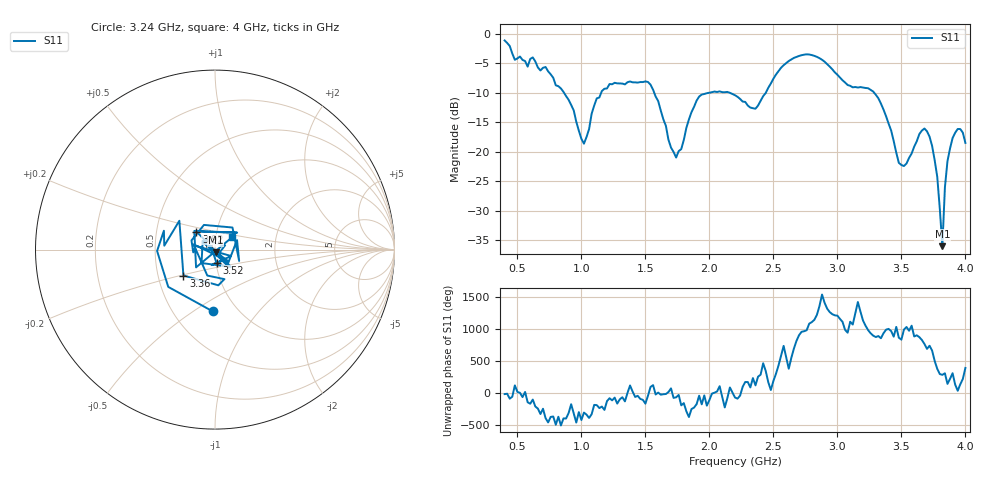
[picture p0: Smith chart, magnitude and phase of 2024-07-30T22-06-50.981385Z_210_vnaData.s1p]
!Created with skrf (http://scikit-rf.org).
# Hz S RI R 50.0
!freq ReS11 ImS11
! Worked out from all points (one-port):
!   181 points, 400 MHz to 4 GHz, reference 50 ohm
!   lowest |S11| = -36.0 dB at 3.82 GHz (marker M1), VSWR 1.03, Z = 50.5 - j1.52 ohm
!   |S11| at or under -10 dB: 1.568 GHz to 2.003 GHz (434.4 MHz wide, 24.3 % of centre); 2.156 GHz to 2.441 GHz (285 MHz wide, 12.4 % of centre); 3.287 GHz to end of sweep (the widest 3 of 4)
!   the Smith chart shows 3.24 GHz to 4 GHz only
!   S11 on the Smith chart (normalised r, x): 3.24 GHz: 0.77, -0.60; 3.36 GHz: 0.68, -0.21; 3.52 GHz: 1.01, -0.15; 3.92 GHz: 0.80, +0.16; 4 GHz: 1.20, +0.17
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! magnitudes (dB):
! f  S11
! 400 MHz  -1.2
! 480 MHz  -4.4
! 860 MHz  -9.9
! 1.02 GHz  -18.7
! 1.12 GHz  -11.0
! 1.3 GHz  -8.4
! 1.54 GHz  -8.6
! 1.7 GHz  -19.3
! 1.76 GHz  -19.9
! 1.92 GHz  -10.7
! 2.2 GHz  -10.4
! 2.36 GHz  -12.7
! 2.66 GHz  -4.1
! 2.84 GHz  -3.9
! 3.1 GHz  -8.8
! 3.24 GHz  -9.3
! 3.36 GHz  -12.9
! 3.48 GHz  -21.9
! 3.52 GHz  -22.5
! 3.56 GHz  -21.1
! 3.66 GHz  -16.4
! 3.72 GHz  -17.5
! 3.78 GHz  -24.3
! 3.82 GHz  -36.0
! 3.84 GHz  -26.1
! 3.86 GHz  -21.6
! 3.92 GHz  -16.8
! 4 GHz  -18.5
